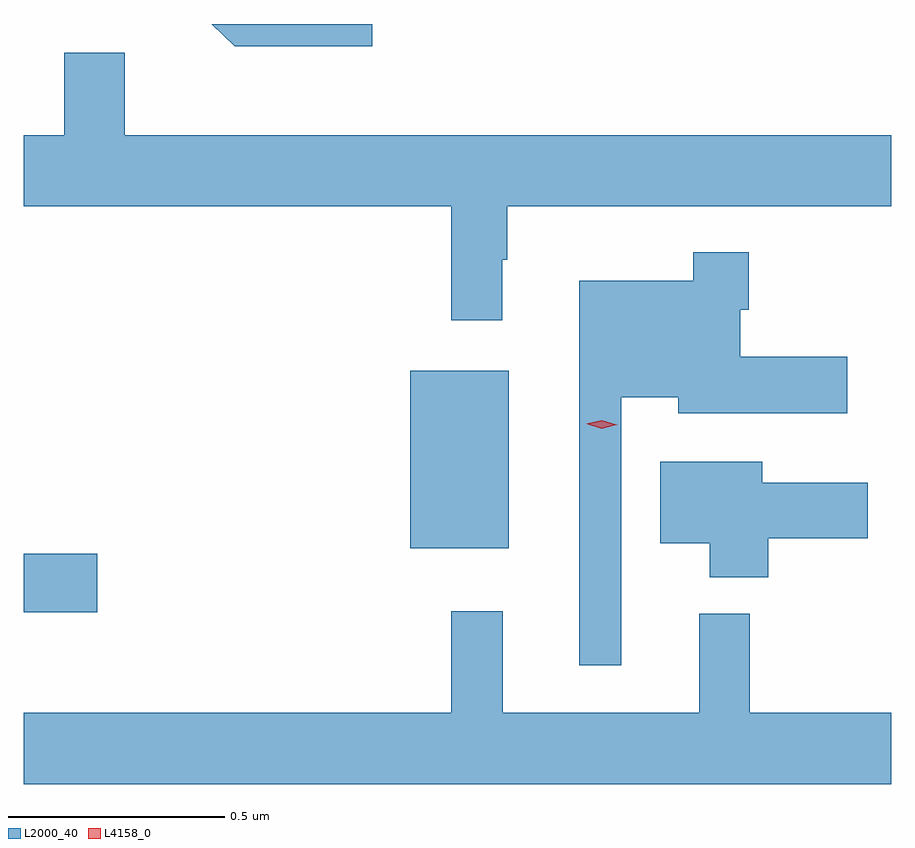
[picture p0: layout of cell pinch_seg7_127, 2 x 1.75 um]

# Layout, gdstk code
import gdstk
lib = gdstk.Library(unit=1e-6, precision=1e-09)
def R(c, l, rs):  # rectangles x0, y0, x1, y1
    for r in rs: c.add(gdstk.rectangle(r[:2], r[2:], *l))
def P(c, l, *ps):  # polygons
    for p in ps: c.add(gdstk.Polygon(p, *l))
L2000_40 = (2000, 40)
L4158_0 = (4158, 0)

pinch_seg7_127 = lib.new_cell('pinch_seg7_127')
R(pinch_seg7_127, L2000_40, [(914.147,1035.644,914.317,1035.779), (915.038,1035.791,915.265,1036.201)])
P(pinch_seg7_127, L2000_40, [(914.95,1037),(914.581,1037),(914.633,1036.949),(914.95,1036.949)],
  [(915.25,1036.457),(915.262,1036.457),(915.262,1036.58),(916.147,1036.58),(916.147,1036.744),(914.38,1036.744),(914.38,1036.934),(914.24,1036.934),(914.24,1036.744),(914.147,1036.744),(914.147,1036.58),(915.133,1036.58),(915.133,1036.317),(915.25,1036.317)],
  [(915.525,1036.139),(915.656,1036.139),(915.656,1036.103),(916.045,1036.103),(916.045,1036.233),(915.799,1036.233),(915.799,1036.341),(915.818,1036.341),(915.818,1036.474),(915.69,1036.474),(915.69,1036.408),(915.428,1036.408),(915.428,1035.522),(915.525,1035.522)],
  [(915.863,1035.814),(916.093,1035.814),(916.093,1035.943),(915.85,1035.943),(915.85,1035.991),(915.614,1035.991),(915.614,1035.803),(915.728,1035.803),(915.728,1035.725),(915.863,1035.725)],
  [(916.147,1035.412),(915.821,1035.412),(915.821,1035.64),(915.704,1035.64),(915.704,1035.412),(915.251,1035.412),(915.251,1035.646),(915.133,1035.646),(915.133,1035.412),(914.147,1035.412),(914.147,1035.248),(916.147,1035.248)])
P(pinch_seg7_127, L4158_0, [(915.479,1036.067),(915.444,1036.078),(915.444,1036.078),(915.444,1036.079),(915.479,1036.087),(915.514,1036.076),(915.515,1036.076),(915.514,1036.076)])

lib.write_gds('pinch_seg7_127.gds')
